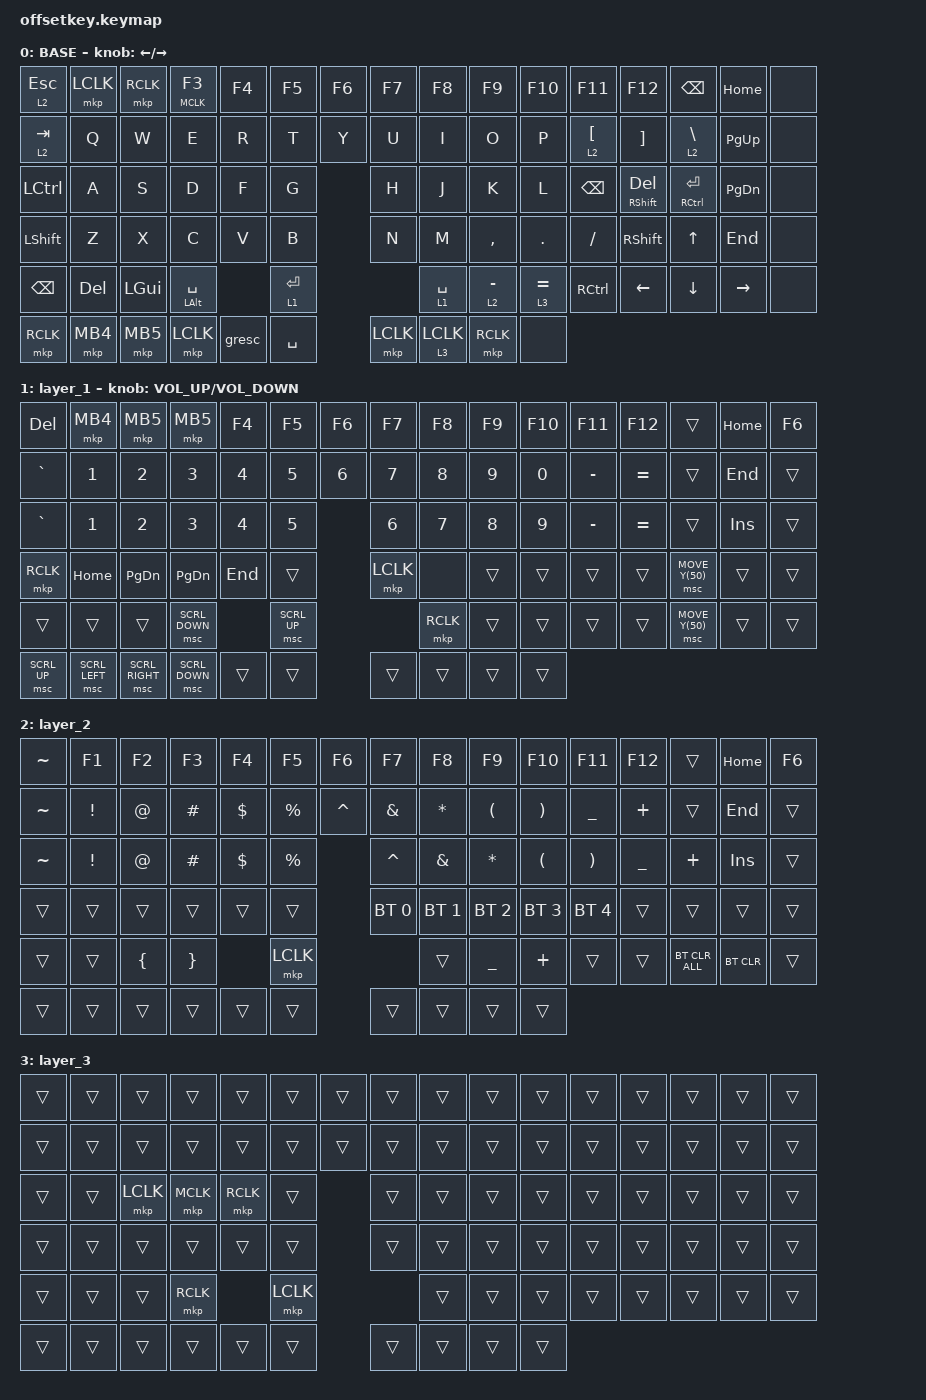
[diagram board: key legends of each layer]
#define BASE 0
#define LOWER 1
#define MOUSE_KEYS 2
#define MOUSE_TP 3
#define MOUSE_TP_SET 4

#include <zephyr/dt-bindings/input/input-event-codes.h>
#include <behaviors/toggle_io.dtsi>
#include <behaviors/on_io.dtsi>
#include <behaviors/off_io.dtsi>
#include <behaviors.dtsi>
#include <dt-bindings/zmk/bt.h>
#include <dt-bindings/zmk/keys.h>
#include <dt-bindings/zmk/pointing.h>

/ {
    behaviors {
        ltq: ltq {
            compatible = "zmk,behavior-hold-tap";
            label = "LTQ";
            bindings = <&mo>, <&kp>;

            #binding-cells = <2>;
            tapping-term-ms = <200>;
            quick-tap-ms = <180>;
        };

        encoder_msc: encoder_msc {
            compatible = "zmk,behavior-sensor-rotate";
            label = "ENCODER_MSC";
            #sensor-binding-cells = <0>;
            bindings = <&msc MOVE_Y(-20)>, <&msc MOVE_Y(20)>;

            tap-ms = <100>;
        };

        mo_mkp: mo_mkp {
            compatible = "zmk,behavior-hold-tap";
            label = "MO_MKP";
            bindings = <&mo>, <&mkp>;

            #binding-cells = <2>;
            tapping-term-ms = <200>;
        };

        encoder_kp_var: encoder_kp_var {
            compatible = "zmk,behavior-sensor-rotate-var";
            label = "ENCODER_KP_VAR";
            #sensor-binding-cells = <2>;
            bindings = <&kp>, <&kp>;

            tap-ms = <150>;
        };

        mkp_kp: mkp_kp {
            compatible = "zmk,behavior-hold-tap";
            label = "MKP_KP";
            bindings = <&mkp>, <&kp>;

            #binding-cells = <2>;
            tapping-term-ms = <200>;
        };

        kp_mkp: kp_mkp {
            compatible = "zmk,behavior-hold-tap";
            label = "KP_MKP";
            bindings = <&kp>, <&mkp>;

            #binding-cells = <2>;
            tapping-term-ms = <200>;
        };

        gui_2: gui_2 {
            compatible = "zmk,behavior-mod-morph";
            #binding-cells = <0>;
            bindings = <&mkp RCLK>, <&kp N2>;

            mods = <(MOD_LGUI|MOD_RGUI)>;
            label = "GUI_2";
        };

        gresc: grave_escape {
            compatible = "zmk,behavior-mod-morph";
            #binding-cells = <0>;
            bindings = <&kp ESC>, <&mkp RCLK>;

            mods = <(MOD_LGUI|MOD_LSFT|MOD_RGUI|MOD_RSFT)>;
        };
    };

    combos {
        compatible = "zmk,combos";

        flash {
            bindings = <&bootloader>;
            key-positions = <0 11>;
        };
    };

    keymap {
        compatible = "zmk,keymap";

        BASE {
            bindings = <
&lt 2 ESCAPE   &mkp LCLK   &mkp RCLK  &mkp_kp MCLK F3  &kp F4  &kp F5       &kp F6      &kp F7     &kp F8          &kp F9       &kp F10      &kp F11        &kp F12             &kp BSPC         &kp HOME                      &none
&lt 2 TAB      &kp Q       &kp W      &kp E            &kp R   &kp T                    &kp Y      &kp U           &kp I        &kp O        &kp P          &lt 2 LEFT_BRACKET  &kp RBKT         &lt 2 BACKSLASH  &kp PAGE_UP  &none
&kp LCTRL      &kp A       &kp S      &kp D            &kp F   &kp G                    &kp H      &kp J           &kp K        &kp L        &kp BACKSPACE  &mt RSHIFT DELETE   &mt RCTRL ENTER  &kp PAGE_DOWN                 &none
&kp LSHIFT     &kp Z       &kp X      &kp C            &kp V   &kp B                    &kp N      &kp M           &kp COMMA    &kp DOT      &kp FSLH       &kp RSHFT           &kp UP_ARROW     &kp END                       &none
&kp BACKSPACE  &kp DELETE  &kp LGUI   &mt LALT SPACE           &lt 1 ENTER                         &lt 1 SPACE     &lt 2 MINUS  &lt 3 EQUAL  &kp RCTRL      &kp LEFT            &kp DOWN         &kp RIGHT                     &none
&mkp RCLK      &mkp MB4    &mkp MB5   &mkp LCLK        &gresc  &kp SPACE                &mkp LCLK  &mo_mkp 3 LCLK  &mkp RCLK    &none
            >;

            label = "BASE";
            sensor-bindings = <&encoder_kp_var LEFT RIGHT>;
        };

        layer_1 {
            bindings = <
&kp DELETE    &mkp MB4        &mkp MB5         &mkp MB5        &kp F4   &kp F5        &kp F6      &kp F7     &kp F8     &kp F9  &kp F10  &kp F11    &kp F12    &trans           &kp HOME             &kp F6
&kp GRAVE     &kp N1          &kp N2           &kp N3          &kp N4   &kp N5                    &kp N6     &kp N7     &kp N8  &kp N9   &kp N0     &kp MINUS  &kp EQUAL        &trans      &kp END  &trans
&kp GRAVE     &kp N1          &kp N2           &kp N3          &kp N4   &kp N5                    &kp N6     &kp N7     &kp N8  &kp N9   &kp MINUS  &kp EQUAL  &trans           &kp INSERT           &trans
&mkp RCLK     &kp HOME        &kp PG_DN        &kp PG_DN       &kp END  &trans                    &mkp LCLK  &none      &trans  &trans   &trans     &trans     &msc MOVE_Y(50)  &trans               &trans
&trans        &trans          &trans           &msc SCRL_DOWN           &msc SCRL_UP                         &mkp RCLK  &trans  &trans   &trans     &trans     &msc MOVE_Y(50)  &trans               &trans
&msc SCRL_UP  &msc SCRL_LEFT  &msc SCRL_RIGHT  &msc SCRL_DOWN  &trans   &trans                    &trans     &trans     &trans  &trans
            >;

            sensor-bindings = <&inc_dec_kp C_VOLUME_UP C_VOLUME_DOWN>;
        };

        layer_2 {
            bindings = <
&kp TILDE  &kp F1           &kp F2          &kp F3           &kp F4      &kp F5       &kp F6      &kp F7        &kp F8         &kp F9        &kp F10               &kp F11                &kp F12         &trans          &kp HOME             &kp F6
&kp TILDE  &kp EXCLAMATION  &kp AT_SIGN     &kp HASH         &kp DOLLAR  &kp PERCENT              &kp CARET     &kp AMPERSAND  &kp ASTERISK  &kp LEFT_PARENTHESIS  &kp RIGHT_PARENTHESIS  &kp UNDERSCORE  &kp PLUS        &trans      &kp END  &trans
&kp TILDE  &kp EXCL         &kp AT          &kp HASH         &kp DOLLAR  &kp PERCENT              &kp CARET     &kp AMPERSAND  &kp ASTERISK  &kp LEFT_PARENTHESIS  &kp RIGHT_PARENTHESIS  &kp UNDERSCORE  &kp PLUS        &kp INSERT           &trans
&trans     &trans           &trans          &trans           &trans      &trans                   &bt BT_SEL 0  &bt BT_SEL 1   &bt BT_SEL 2  &bt BT_SEL 3          &bt BT_SEL 4           &trans          &trans          &trans               &trans
&trans     &trans           &kp LEFT_BRACE  &kp RIGHT_BRACE              &mkp LCLK                              &trans         &kp UNDER     &kp PLUS              &trans                 &trans          &bt BT_CLR_ALL  &bt BT_CLR           &trans
&trans     &trans           &trans          &trans           &trans      &trans                   &trans        &trans         &trans        &trans
            >;
        };

        layer_3 {
            bindings = <
&trans  &trans  &trans     &trans     &trans     &trans     &trans      &trans  &trans  &trans  &trans  &trans  &trans  &trans  &trans          &trans
&trans  &trans  &trans     &trans     &trans     &trans                 &trans  &trans  &trans  &trans  &trans  &trans  &trans  &trans  &trans  &trans
&trans  &trans  &mkp LCLK  &mkp MCLK  &mkp RCLK  &trans                 &trans  &trans  &trans  &trans  &trans  &trans  &trans  &trans          &trans
&trans  &trans  &trans     &trans     &trans     &trans                 &trans  &trans  &trans  &trans  &trans  &trans  &trans  &trans          &trans
&trans  &trans  &trans     &mkp RCLK             &mkp LCLK                      &trans  &trans  &trans  &trans  &trans  &trans  &trans          &trans
&trans  &trans  &trans     &trans     &trans     &trans                 &trans  &trans  &trans  &trans
            >;
        };
    };
};
